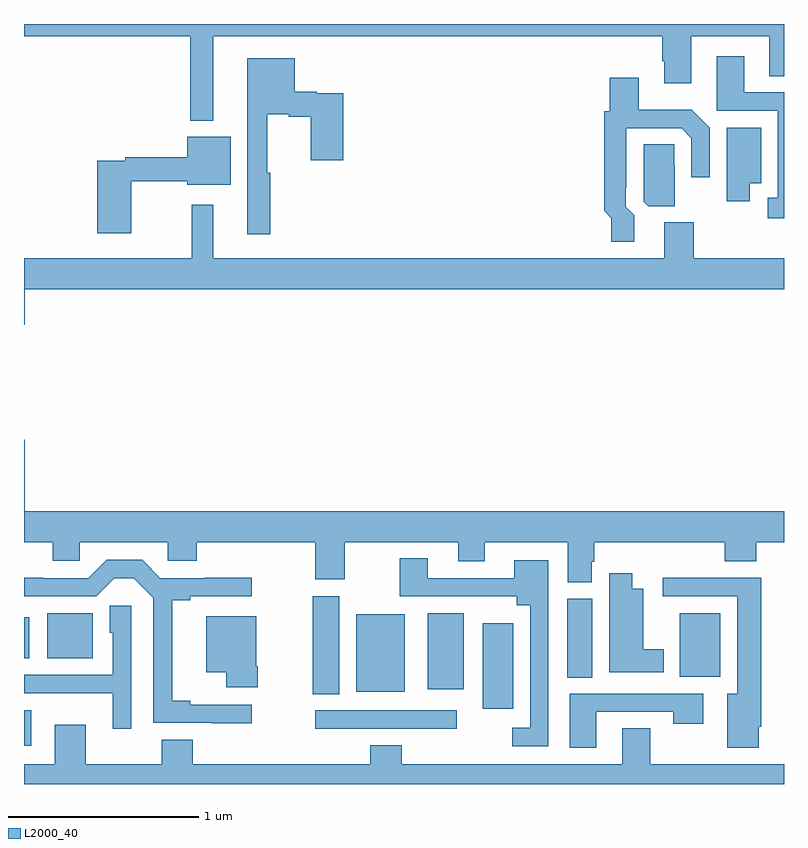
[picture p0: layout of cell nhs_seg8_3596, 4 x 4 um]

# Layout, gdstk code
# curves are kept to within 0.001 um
import gdstk
lib = gdstk.Library(unit=1e-6, precision=1e-09)
def R(c, l, rs):  # rectangles x0, y0, x1, y1
    for r in rs: c.add(gdstk.rectangle(r[:2], r[2:], *l))
def P(c, l, *ps):  # polygons
    for p in ps: c.add(gdstk.Polygon(p, *l))
L2000_40 = (2000, 40)

nhs_seg8_3596 = lib.new_cell('nhs_seg8_3596')
R(nhs_seg8_3596, L2000_40, [(333,1110.102,333.037,1110.288), (334.533,1110.192,335.278,1110.288), (335.414,1110.297,335.575,1110.745), (334.519,1110.373,334.66,1110.889), (334.748,1110.386,335.005,1110.793), (335.126,1110.398,335.314,1110.799), (335.858,1110.46,335.992,1110.876), (336.452,1110.464,336.664,1110.799), (333,1110.563,333.028,1110.778), (333.122,1110.563,333.361,1110.799)])
P(nhs_seg8_3596, L2000_40, [(336.359,1113.703),(336.371,1113.703),(336.371,1113.588),(336.511,1113.588),(336.511,1113.836),(336.923,1113.836),(336.923,1113.625),(337,1113.625),(337,1113.9),(333,1113.9),(333,1113.836),(333.876,1113.836),(333.876,1113.392),(333.997,1113.392),(333.997,1113.836),(336.359,1113.836)],
  [(337,1113.54),(336.79,1113.54),(336.79,1113.73),(336.647,1113.73),(336.647,1113.444),(336.968,1113.444),(336.968,1112.986),(336.915,1112.986),(336.915,1112.877),(337,1112.877)],
  [(334.297,1113.117),(334.279,1113.117),(334.279,1113.425),(334.394,1113.425),(334.394,1113.413),(334.508,1113.413),(334.508,1113.183),(334.679,1113.183),(334.679,1113.535),(334.542,1113.535),(334.542,1113.543),(334.426,1113.543),(334.426,1113.721),(334.175,1113.721),(334.175,1112.793),(334.297,1112.793)],
  [(336.211,1112.894),(336.168,1112.937),(336.168,1113.037),(336.171,1113.037),(336.171,1113.351),(336.462,1113.351),(336.513,1113.3),(336.513,1113.093),(336.609,1113.093),(336.609,1113.354),(336.515,1113.448),(336.235,1113.448),(336.235,1113.616),(336.083,1113.616),(336.083,1113.441),(336.055,1113.441),(336.055,1113.098),(336.053,1113.098),(336.053,1112.916),(336.091,1112.877),(336.091,1112.754),(336.211,1112.754)],
  [(336.82,1113.062),(336.88,1113.062),(336.88,1113.355),(336.698,1113.355),(336.698,1112.967),(336.82,1112.967)],
  [(333.564,1113.072),(333.86,1113.072),(333.86,1113.053),(334.087,1113.053),(334.087,1113.307),(333.86,1113.307),(333.86,1113.2),(333.532,1113.2),(333.532,1113.18),(333.386,1113.18),(333.386,1112.799),(333.564,1112.799)],
  [(336.424,1113.155),(336.423,1113.155),(336.423,1113.266),(336.261,1113.266),(336.261,1112.964),(336.285,1112.941),(336.424,1112.941)],
  [(333.004,1112.504),(337,1112.504),(337,1112.668),(336.524,1112.668),(336.524,1112.856),(336.371,1112.856),(336.371,1112.668),(333.997,1112.668),(333.997,1112.95),(333.883,1112.95),(333.883,1112.668),(333,1112.668),(333,1112.316),(333.004,1112.316)],
  [(335.989,1111.071),(336.002,1111.071),(336.002,1111.172),(336.689,1111.172),(336.689,1111.073),(336.854,1111.073),(336.854,1111.172),(337,1111.172),(337,1111.336),(333.004,1111.336),(333.004,1111.711),(333,1111.711),(333,1111.172),(333.152,1111.172),(333.152,1111.074),(333.294,1111.074),(333.294,1111.172),(333.756,1111.172),(333.756,1111.074),(333.908,1111.074),(333.908,1111.172),(334.534,1111.172),(334.534,1110.978),(334.689,1110.978),(334.689,1111.172),(335.285,1111.172),(335.285,1111.073),(335.425,1111.073),(335.425,1111.172),(335.861,1111.172),(335.861,1110.961),(335.989,1110.961)],
  [(335.76,1111.078),(335.579,1111.078),(335.579,1110.984),(335.125,1110.984),(335.125,1111.087),(334.978,1111.087),(334.978,1110.888),(335.594,1110.888),(335.594,1110.842),(335.664,1110.842),(335.664,1110.195),(335.571,1110.195),(335.571,1110.099),(335.76,1110.099)],
  [(334.198,1110.318),(333.874,1110.318),(333.874,1110.338),(333.779,1110.338),(333.779,1110.868),(333.874,1110.868),(333.874,1110.888),(334.198,1110.888),(334.198,1110.986),(333.951,1110.986),(333.951,1110.984),(333.718,1110.984),(333.622,1111.08),(333.435,1111.08),(333.339,1110.984),(333.1,1110.984),(333.1,1110.986),(333,1110.986),(333,1110.888),(333.381,1110.888),(333.476,1110.983),(333.577,1110.983),(333.681,1110.879),(333.681,1110.222),(334.198,1110.221)],
  [(336.367,1110.61),(336.259,1110.61),(336.259,1110.928),(336.202,1110.928),(336.202,1111.009),(336.08,1111.009),(336.08,1110.488),(336.367,1110.488)],
  [(336.868,1110.202),(336.881,1110.202),(336.881,1110.986),(336.363,1110.986),(336.363,1110.888),(336.755,1110.888),(336.755,1110.376),(336.701,1110.376),(336.701,1110.09),(336.868,1110.09)],
  [(333.564,1110.839),(333.452,1110.839),(333.452,1110.696),(333.468,1110.696),(333.468,1110.474),(333,1110.474),(333,1110.378),(333.133,1110.378),(333.133,1110.377),(333.467,1110.377),(333.467,1110.192),(333.564,1110.192)],
  [(334.23,1110.52),(334.222,1110.52),(334.222,1110.784),(333.959,1110.784),(333.959,1110.488),(334.064,1110.488),(334.064,1110.408),(334.23,1110.408)],
  [(336.013,1110.279),(336.418,1110.279),(336.418,1110.216),(336.574,1110.216),(336.574,1110.375),(335.873,1110.375),(335.873,1110.09),(336.013,1110.09)],
  [(337,1110.004),(336.297,1110.004),(336.297,1110.194),(336.149,1110.194),(336.149,1110.004),(334.988,1110.004),(334.988,1110.103),(334.823,1110.103),(334.823,1110.004),(333.889,1110.004),(333.889,1110.133),(333.725,1110.133),(333.725,1110.004),(333.325,1110.004),(333.325,1110.211),(333.161,1110.211),(333.161,1110.004),(333,1110.004),(333,1109.9),(337,1109.9)])

lib.write_gds('nhs_seg8_3596.gds')
